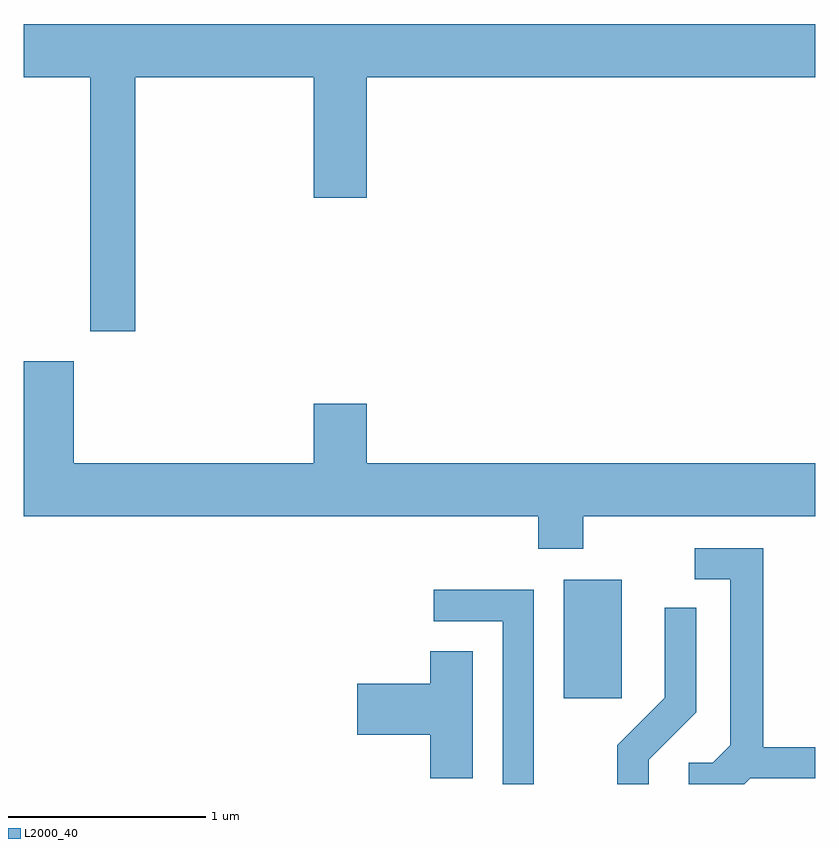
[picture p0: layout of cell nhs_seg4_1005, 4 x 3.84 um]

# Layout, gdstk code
import gdstk
lib = gdstk.Library(unit=1e-6, precision=1e-09)
def R(c, l, rs):  # rectangles x0, y0, x1, y1
    for r in rs: c.add(gdstk.rectangle(r[:2], r[2:], *l))
def P(c, l, *ps):  # polygons
    for p in ps: c.add(gdstk.Polygon(p, *l))
L2000_40 = (2000, 40)

nhs_seg4_1005 = lib.new_cell('nhs_seg4_1005')
R(nhs_seg4_1005, L2000_40, [(216.341,1360.416,216.634,1361.014)])
P(nhs_seg4_1005, L2000_40, [(214.174,1363.556),(215.076,1363.556),(215.076,1362.946),(215.344,1362.946),(215.344,1363.556),(217.611,1363.556),(217.611,1363.824),(213.611,1363.824),(213.611,1363.556),(213.946,1363.556),(213.946,1362.271),(214.174,1362.271)],
  [(216.439,1361.336),(217.611,1361.336),(217.611,1361.604),(215.344,1361.604),(215.344,1361.904),(215.076,1361.904),(215.076,1361.604),(213.864,1361.604),(213.864,1362.119),(213.611,1362.119),(213.611,1361.336),(216.211,1361.336),(216.211,1361.171),(216.439,1361.171)],
  [(217.282,1360.011),(217.611,1360.011),(217.611,1360.169),(217.349,1360.169),(217.349,1361.174),(217.003,1361.174),(217.003,1361.016),(217.181,1361.016),(217.181,1360.177),(217.094,1360.089),(216.973,1360.089),(216.973,1359.982),(217.253,1359.982)],
  [(216.189,1360.964),(215.683,1360.964),(215.683,1360.806),(216.031,1360.806),(216.031,1359.982),(216.189,1359.982)],
  [(216.769,1360.104),(217.009,1360.344),(217.009,1360.873),(216.851,1360.873),(216.851,1360.417),(216.611,1360.177),(216.611,1359.982),(216.769,1359.982)],
  [(215.879,1360.654),(215.666,1360.654),(215.666,1360.489),(215.296,1360.489),(215.296,1360.231),(215.666,1360.231),(215.666,1360.011),(215.879,1360.011)])

lib.write_gds('nhs_seg4_1005.gds')
